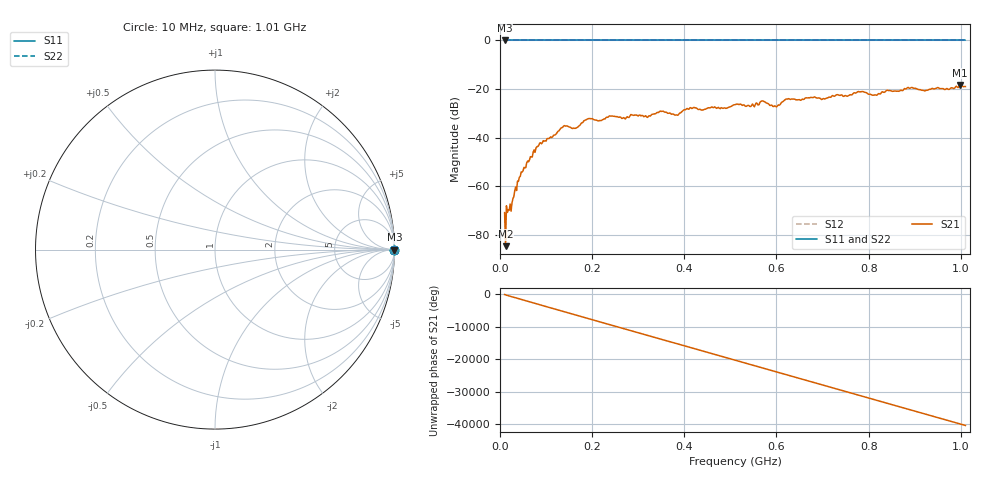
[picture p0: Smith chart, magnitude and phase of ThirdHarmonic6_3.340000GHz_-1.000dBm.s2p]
! 8/17/2025 10:30:58 AM
! C:\ANRITSUVNA\TEMP\TEMP.S2P
! CHANNEL.1
! TR.MEASUREMENT
! RAW.DATA
! RF.CORRECTION.OFF
! AVERAGING.OFF
! IF.BANDWIDTH: 5KHZ
! SWEEPTYPE:  FREQ.SWEEP(Linear)
! Reference Plane Port Info
! PORT:  PORT1  PORT2
! DISTANCE:  0  m  0  m
! TIME:  0  s  0  s
! PHASE.OFFSET:  0  deg.  0  deg.
! LOSS:  0  dB  0  dB
! REF.LOSS:  0  dB  0  dB
! REF.FREQ:  0  Hz  0  Hz
! Power Info
! POWER:  -20  dBm  -20  dBm
! EFF.POWER:  -20  dBm  -20  dBm
! SOURCE.ATTEN:  0  dB  0  dB
! TEST.ATTEN:  0  dB  0  dB
# GHZ S RI R 50.0
! FREQ.GHZ  S11RE  S11IM  S21RE  S21IM  S12RE  S12IM  S22RE  S22IM
!; PortSelection: Port_12
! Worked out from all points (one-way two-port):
!   501 points, 10 MHz to 1.01 GHz, reference 50 ohm
!   highest |S21| = -18.37 dB at 998 MHz (marker M1); lowest = -84.7 dB at 12 MHz (marker M2)
!   lowest |S11| = 0.0 dB at 10 MHz (marker M3)
!   |S11| at or under -10 dB: nowhere
!   |S22| runs from 0.0 to 0.0 dB; largest |S21 - S12| = 1.1
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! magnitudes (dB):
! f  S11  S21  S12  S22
! 10 MHz  0.0  -70.9  0.0  0.0
! 12 MHz  0.0  -84.7  0.0  0.0
! 24 MHz  0.0  -70.3  0.0  0.0
! 42 MHz  0.0  -56.3  0.0  0.0
! 82 MHz  0.0  -43.7  0.0  0.0
! 136 MHz  0.0  -35.7  0.0  0.0
! 162 MHz  0.0  -36.2  0.0  0.0
! 178 MHz  0.0  -33.9  0.0  0.0
! 344 MHz  0.0  -29.7  0.0  0.0
! 384 MHz  0.0  -30.7  0.0  0.0
! 416 MHz  0.0  -28.0  0.0  0.0
! 510 MHz  0.0  -26.5  0.0  0.0
! 548 MHz  0.0  -26.2  0.0  0.0
! 570 MHz  0.0  -24.9  0.0  0.0
! 596 MHz  0.0  -26.9  0.0  0.0
! 622 MHz  0.0  -24.1  0.0  0.0
! 678 MHz  0.0  -23.5  0.0  0.0
! 782 MHz  0.0  -21.2  0.0  0.0
! 814 MHz  0.0  -22.4  0.0  0.0
! 844 MHz  0.0  -20.7  0.0  0.0
! 998 MHz  0.0  -18.4  0.0  0.0
! 1.01 GHz  0.0  -19.0  0.0  0.0
